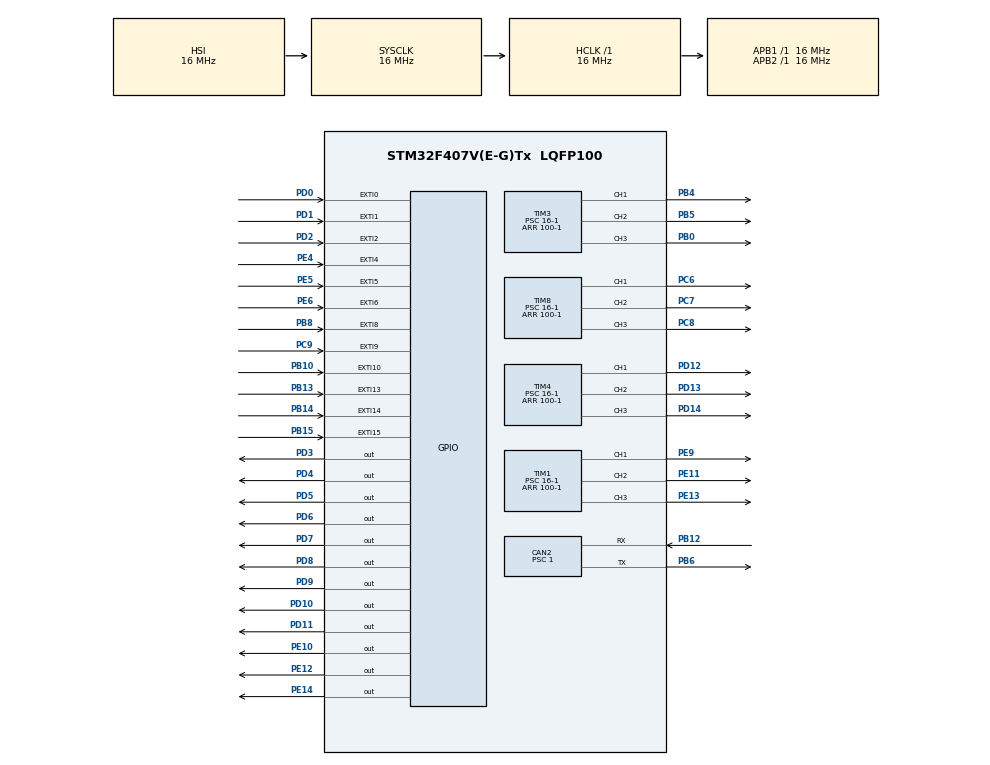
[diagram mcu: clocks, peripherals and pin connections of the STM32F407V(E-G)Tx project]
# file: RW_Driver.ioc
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CAN2.BS1=CAN_BS1_10TQ
CAN2.BS2=CAN_BS2_5TQ
CAN2.CalculateBaudRate=1000000
CAN2.CalculateTimeBit=1000.00
CAN2.CalculateTimeQuantum=62.5
CAN2.Prescaler=1
Mcu.Family=STM32F4
Mcu.Name=STM32F407V(E-G)Tx
Mcu.Package=LQFP100
NVIC.CAN2_RX0_IRQn=true\:0\:0\:false\:false\:true\:true\:true
NVIC.EXTI0_IRQn=true\:0\:0\:false\:false\:true\:true\:true
NVIC.EXTI15_10_IRQn=true\:0\:0\:false\:false\:true\:true\:true
NVIC.EXTI1_IRQn=true\:0\:0\:false\:false\:true\:true\:true
NVIC.EXTI2_IRQn=true\:0\:0\:false\:false\:true\:true\:true
NVIC.EXTI4_IRQn=true\:0\:0\:false\:false\:true\:true\:true
NVIC.EXTI9_5_IRQn=true\:0\:0\:false\:false\:true\:true\:true
NVIC.PriorityGroup=NVIC_PRIORITYGROUP_4
PB0.Signal=S_TIM3_CH3
PB10.GPIO_ModeDefaultEXTI=GPIO_MODE_IT_RISING_FALLING
PB10.GPIO_PuPd=GPIO_PULLDOWN
PB10.Signal=GPXTI10
PB12.Mode=CAN_Activate
PB12.Signal=CAN2_RX
PB13.GPIO_ModeDefaultEXTI=GPIO_MODE_IT_RISING_FALLING
PB13.GPIO_PuPd=GPIO_PULLDOWN
PB13.Signal=GPXTI13
PB14.GPIO_ModeDefaultEXTI=GPIO_MODE_IT_RISING_FALLING
PB14.GPIO_PuPd=GPIO_PULLDOWN
PB14.Signal=GPXTI14
PB15.GPIO_ModeDefaultEXTI=GPIO_MODE_IT_RISING_FALLING
PB15.GPIO_PuPd=GPIO_PULLDOWN
PB15.Signal=GPXTI15
PB4.Signal=S_TIM3_CH1
PB5.Signal=S_TIM3_CH2
PB6.Mode=CAN_Activate
PB6.Signal=CAN2_TX
PB8.GPIO_ModeDefaultEXTI=GPIO_MODE_IT_RISING_FALLING
PB8.GPIO_PuPd=GPIO_PULLDOWN
PB8.Signal=GPXTI8
PC6.Signal=S_TIM8_CH1
PC7.Signal=S_TIM8_CH2
PC8.Signal=S_TIM8_CH3
PC9.GPIO_ModeDefaultEXTI=GPIO_MODE_IT_RISING_FALLING
PC9.GPIO_PuPd=GPIO_PULLDOWN
PC9.Signal=GPXTI9
PD0.GPIO_ModeDefaultEXTI=GPIO_MODE_IT_RISING_FALLING
PD0.GPIO_PuPd=GPIO_PULLDOWN
PD0.Signal=GPXTI0
PD1.GPIO_ModeDefaultEXTI=GPIO_MODE_IT_RISING_FALLING
PD1.GPIO_PuPd=GPIO_PULLDOWN
PD1.Signal=GPXTI1
PD10.Signal=GPIO_Output
PD11.Signal=GPIO_Output
PD12.Signal=S_TIM4_CH1
PD13.Signal=S_TIM4_CH2
PD14.Signal=S_TIM4_CH3
PD2.GPIO_ModeDefaultEXTI=GPIO_MODE_IT_RISING_FALLING
PD2.GPIO_PuPd=GPIO_PULLDOWN
PD2.Signal=GPXTI2
PD3.Signal=GPIO_Output
PD4.Signal=GPIO_Output
PD5.Signal=GPIO_Output
PD6.Signal=GPIO_Output
PD7.Signal=GPIO_Output
PD8.Signal=GPIO_Output
PD9.Signal=GPIO_Output
PE10.Signal=GPIO_Output
PE11.Signal=S_TIM1_CH2
PE12.Signal=GPIO_Output
PE13.Signal=S_TIM1_CH3
PE14.Signal=GPIO_Output
PE4.GPIO_ModeDefaultEXTI=GPIO_MODE_IT_RISING_FALLING
PE4.GPIO_PuPd=GPIO_PULLDOWN
PE4.Signal=GPXTI4
PE5.GPIO_ModeDefaultEXTI=GPIO_MODE_IT_RISING_FALLING
PE5.GPIO_PuPd=GPIO_PULLDOWN
PE5.Signal=GPXTI5
PE6.GPIO_ModeDefaultEXTI=GPIO_MODE_IT_RISING_FALLING
PE6.GPIO_PuPd=GPIO_PULLDOWN
PE6.Signal=GPXTI6
PE9.Signal=S_TIM1_CH1
ProjectManager.HeapSize=0x200
ProjectManager.StackSize=0x400
ProjectManager.TargetToolchain=STM32CubeIDE
RCC.AHBFreq_Value=16000000
RCC.APB1Freq_Value=16000000
RCC.APB2Freq_Value=16000000
RCC.CortexFreq_Value=16000000
RCC.HSE_VALUE=25000000
RCC.HSI_VALUE=16000000
RCC.LSE_VALUE=32768
RCC.SYSCLKFreq_VALUE=16000000
RCC.VCOOutputFreq_Value=192000000
SH.S_TIM1_CH1.0=TIM1_CH1,PWM Generation1 CH1
SH.S_TIM1_CH2.0=TIM1_CH2,PWM Generation2 CH2
SH.S_TIM1_CH3.0=TIM1_CH3,PWM Generation3 CH3
SH.S_TIM3_CH1.0=TIM3_CH1,PWM Generation1 CH1
SH.S_TIM3_CH2.0=TIM3_CH2,PWM Generation2 CH2
SH.S_TIM3_CH3.0=TIM3_CH3,PWM Generation3 CH3
SH.S_TIM4_CH1.0=TIM4_CH1,PWM Generation1 CH1
SH.S_TIM4_CH2.0=TIM4_CH2,PWM Generation2 CH2
SH.S_TIM4_CH3.0=TIM4_CH3,PWM Generation3 CH3
SH.S_TIM8_CH1.0=TIM8_CH1,PWM Generation1 CH1
SH.S_TIM8_CH2.0=TIM8_CH2,PWM Generation2 CH2
SH.S_TIM8_CH3.0=TIM8_CH3,PWM Generation3 CH3
TIM1.Channel-PWM\ Generation1\ CH1=TIM_CHANNEL_1
TIM1.Channel-PWM\ Generation2\ CH2=TIM_CHANNEL_2
TIM1.Channel-PWM\ Generation3\ CH3=TIM_CHANNEL_3
TIM1.Period=100-1
TIM1.Prescaler=16-1
TIM3.Channel-PWM\ Generation1\ CH1=TIM_CHANNEL_1
TIM3.Channel-PWM\ Generation2\ CH2=TIM_CHANNEL_2
TIM3.Channel-PWM\ Generation3\ CH3=TIM_CHANNEL_3
TIM3.Period=100-1
TIM3.Prescaler=16-1
TIM4.Channel-PWM\ Generation1\ CH1=TIM_CHANNEL_1
TIM4.Channel-PWM\ Generation2\ CH2=TIM_CHANNEL_2
TIM4.Channel-PWM\ Generation3\ CH3=TIM_CHANNEL_3
TIM4.Period=100-1
TIM4.Prescaler=16-1
TIM8.Channel-PWM\ Generation1\ CH1=TIM_CHANNEL_1
TIM8.Channel-PWM\ Generation2\ CH2=TIM_CHANNEL_2
TIM8.Channel-PWM\ Generation3\ CH3=TIM_CHANNEL_3
TIM8.Period=100-1
TIM8.Prescaler=16-1
VP_TIM1_VS_ClockSourceINT.Mode=Internal
VP_TIM3_VS_ClockSourceINT.Mode=Internal
VP_TIM4_VS_ClockSourceINT.Mode=Internal
VP_TIM8_VS_ClockSourceINT.Mode=Internal
board=custom

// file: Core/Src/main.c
/* USER CODE BEGIN Header */
/**
  ******************************************************************************
  * @file           : main.c
  * @author			: Jesús Yamil Robles López
  * @author			: Guillermo Ocaña Anaya
  * @date			: 14/01/2022
  * @brief          : Main program body
  *
  ******************************************************************************
  * Motor 1
  * GPIO		- PD2 		- Hall Sensor C
  * GPIO		- PD1 		- Hall Sensor B
  * GPIO		- PD0 		- Hall Sensor A
  * GPIO		- PE10		- High Driver Output C
  * TIM1(CH1)	- PE9		- PWM Driver Output C
  * GPIO		- PE12		- High Driver Output B
  * TIM1(CH2)	- PE11		- PWM Driver Output B
  * GPIO		- PE14		- High Driver Output A
  * TIM1(CH3)	- PE13		- PWM Driver Output A
  ******************************************************************************
  * Motor 2
  * GPIO		- PE6 		- Hall Sensor C
  * GPIO		- PE5 		- Hall Sensor B
  * GPIO		- PE4 		- Hall Sensor A
  * GPIO		- PD9		- High Driver Output C
  * TIM4(CH1)	- PD12		- PWM Driver Output C
  * GPIO		- PD10		- High Driver Output B
  * TIM4(CH2)	- PD13		- PWM Driver Output B
  * GPIO		- PD11		- High Driver Output A
  * TIM4(CH3)	- PD14		- PWM Driver Output A
  ******************************************************************************
  * Motor 3
  * GPIO		- PB10 		- Hall Sensor C
  * GPIO		- PC9 		- Hall Sensor B
  * GPIO		- PB8 		- Hall Sensor A
  * GPIO		- PD3		- High Driver Output C
  * TIM8(CH1)	- PC6		- PWM Driver Output C
  * GPIO		- PD4		- High Driver Output B
  * TIM8(CH2)	- PC7		- PWM Driver Output B
  * GPIO		- PD5		- High Driver Output A
  * TIM8(CH3)	- PC8		- PWM Driver Output A
  ******************************************************************************
  * Motor 4
  * GPIO		- PB15 		- Hall Sensor C
  * GPIO		- PB14 		- Hall Sensor B
  * GPIO		- PB13 		- Hall Sensor A
  * GPIO		- PD6		- High Driver Output C
  * TIM3(CH1)	- PB4		- PWM Driver Output C
  * GPIO		- PD7		- High Driver Output B
  * TIM3(CH2)	- PB5		- PWM Driver Output B
  * GPIO		- PD8		- High Driver Output A
  * TIM3(CH3)	- PB0		- PWM Driver Output A
  ******************************************************************************
  * CAN
  * CAN2		- PB6		- CAN_TX
  * CAN2		- PB12		- CAN_RX
  ******************************************************************************
  * @attention
  *
  * <h2><center>&copy; Copyright (c) 2021 STMicroelectronics.
  * All rights reserved.</center></h2>
  *
  * This software component is licensed by ST under BSD 3-Clause license,
  * the "License"; You may not use this file except in compliance with the
  * License. You may obtain a copy of the License at:
  *                        opensource.org/licenses/BSD-3-Clause
  *
  ******************************************************************************
  */
/* USER CODE END Header */
#include "main.h"

CAN_HandleTypeDef hcan2;

TIM_HandleTypeDef htim1;
TIM_HandleTypeDef htim3;
TIM_HandleTypeDef htim4;
TIM_HandleTypeDef htim8;

/* USER CODE BEGIN PV */

int phase;

High_Output_Drive_Type Wheel1_HD;
High_Output_Drive_Type Wheel2_HD;
High_Output_Drive_Type Wheel3_HD;
High_Output_Drive_Type Wheel4_HD;

FlyWheel_Type FlyWheel_1;
FlyWheel_Type FlyWheel_2;
FlyWheel_Type FlyWheel_3;
FlyWheel_Type FlyWheel_4;

RW_Driver_Type RW_Driver_0;

static CAN_RxHeaderTypeDef RxHeader;
static CAN_TxHeaderTypeDef TxHeader;

uint8_t TxData[8];
uint8_t RxData[8];

uint32_t TxMailbox;

/* USER CODE END PV */

void SystemClock_Config(void);
static void MX_GPIO_Init(void);
static void MX_TIM1_Init(void);
static void MX_TIM4_Init(void);
static void MX_CAN2_Init(void);
static void MX_TIM8_Init(void);
static void MX_TIM3_Init(void);

int main(void)
{

  /* MCU Configuration--------------------------------------------------------*/

  /* Reset of all peripherals, Initializes the Flash interface and the Systick. */
  HAL_Init();

  /* Configure the system clock */
  SystemClock_Config();

  /* Initialize all configured peripherals */
  MX_GPIO_Init();
  MX_TIM1_Init();
  MX_TIM4_Init();
  MX_CAN2_Init();
  MX_TIM8_Init();
  MX_TIM3_Init();
  /* USER CODE BEGIN 2 */

  // High_Output_Drive_Type* Wheel_HD, GPIO_TypeDef* OutputA, uint16_t Pin_A, GPIO_TypeDef* OutputB, uint16_t Pin_B, GPIO_TypeDef* OutputC, uint16_t Pin_C
  Configure_High_Output(&Wheel1_HD, GPIOE, GPIO_PIN_14, GPIOE, GPIO_PIN_12, GPIOE, GPIO_PIN_10);
  Configure_High_Output(&Wheel2_HD, GPIOD, GPIO_PIN_11, GPIOD, GPIO_PIN_10, GPIOD, GPIO_PIN_9);
  Configure_High_Output(&Wheel3_HD, GPIOD, GPIO_PIN_5, GPIOD, GPIO_PIN_4, GPIOD, GPIO_PIN_3);
  Configure_High_Output(&Wheel4_HD, GPIOD, GPIO_PIN_8, GPIOD, GPIO_PIN_7, GPIOD, GPIO_PIN_6);

  //FlyWheel, High_Output_Drive_Type FlyWheel_HD, TIM_TypeDef FlyWheel_LD, uint16_t FlyWheel_DC, TIM_HandleTypeDef FlyWheel_PWM
  FlyWheel_Init(&FlyWheel_1, &Wheel1_HD, TIM1, 50, htim1, 0);
  FlyWheel_Init(&FlyWheel_2, &Wheel2_HD, TIM4, 50, htim4, 1);
  FlyWheel_Init(&FlyWheel_3, &Wheel3_HD, TIM8, 50, htim8, 2);
  FlyWheel_Init(&FlyWheel_4, &Wheel4_HD, TIM3, 50, htim3, 3);

  //FlyWheel_StartPWM(&FlyWheel_1);
  //FlyWheel_StartPWM(&FlyWheel_2);
  //FlyWheel_StartPWM(&FlyWheel_3);
  //FlyWheel_StartPWM(&FlyWheel_4);

  //RW_Driver_Type* RW_Driver, FlyWheel_Type* FlyWheel0, FlyWheel_Type* FlyWheel1, FlyWheel_Type* FlyWheel2, FlyWheel_Type * FlyWheel3);
  RW_Driver_Init(&RW_Driver_0, &FlyWheel_1, &FlyWheel_2, &FlyWheel_3, &FlyWheel_4);

  HAL_CAN_Start(&hcan2);
  HAL_CAN_ActivateNotification(&hcan2, CAN_IT_RX_FIFO0_MSG_PENDING);

  TxHeader.DLC = 2;
  TxHeader.IDE = CAN_ID_STD;
  TxHeader.RTR = CAN_RTR_DATA;
  TxHeader.StdId = 0x123;

  /* USER CODE END 2 */

  /* Infinite loop */
  while (1)
  {

  }
}

void SystemClock_Config(void)
{
  RCC_OscInitTypeDef RCC_OscInitStruct = {0};
  RCC_ClkInitTypeDef RCC_ClkInitStruct = {0};

  /** Configure the main internal regulator output voltage
  */
  __HAL_RCC_PWR_CLK_ENABLE();
  __HAL_PWR_VOLTAGESCALING_CONFIG(PWR_REGULATOR_VOLTAGE_SCALE1);
  /** Initializes the RCC Oscillators according to the specified parameters
  * in the RCC_OscInitTypeDef structure.
  */
  RCC_OscInitStruct.OscillatorType = RCC_OSCILLATORTYPE_HSI;
  RCC_OscInitStruct.HSIState = RCC_HSI_ON;
  RCC_OscInitStruct.HSICalibrationValue = RCC_HSICALIBRATION_DEFAULT;
  RCC_OscInitStruct.PLL.PLLState = RCC_PLL_NONE;
  if (HAL_RCC_OscConfig(&RCC_OscInitStruct) != HAL_OK)
  {
    Error_Handler();
  }
  /** Initializes the CPU, AHB and APB buses clocks
  */
  RCC_ClkInitStruct.ClockType = RCC_CLOCKTYPE_HCLK|RCC_CLOCKTYPE_SYSCLK
                              |RCC_CLOCKTYPE_PCLK1|RCC_CLOCKTYPE_PCLK2;
  RCC_ClkInitStruct.SYSCLKSource = RCC_SYSCLKSOURCE_HSI;
  RCC_ClkInitStruct.AHBCLKDivider = RCC_SYSCLK_DIV1;
  RCC_ClkInitStruct.APB1CLKDivider = RCC_HCLK_DIV1;
  RCC_ClkInitStruct.APB2CLKDivider = RCC_HCLK_DIV1;

  if (HAL_RCC_ClockConfig(&RCC_ClkInitStruct, FLASH_LATENCY_0) != HAL_OK)
  {
    Error_Handler();
  }
}

static void MX_CAN2_Init(void)
{

  hcan2.Instance = CAN2;
  hcan2.Init.Prescaler = 1;
  hcan2.Init.Mode = CAN_MODE_NORMAL;
  hcan2.Init.SyncJumpWidth = CAN_SJW_1TQ;
  hcan2.Init.TimeSeg1 = CAN_BS1_10TQ;
  hcan2.Init.TimeSeg2 = CAN_BS2_5TQ;
  hcan2.Init.TimeTriggeredMode = DISABLE;
  hcan2.Init.AutoBusOff = DISABLE;
  hcan2.Init.AutoWakeUp = DISABLE;
  hcan2.Init.AutoRetransmission = DISABLE;
  hcan2.Init.ReceiveFifoLocked = DISABLE;
  hcan2.Init.TransmitFifoPriority = DISABLE;
  if (HAL_CAN_Init(&hcan2) != HAL_OK)
  {
    Error_Handler();
  }
  /* USER CODE BEGIN CAN2_Init 2 */

  CAN_FilterTypeDef sFilterConfig;

  sFilterConfig.FilterActivation = CAN_FILTER_ENABLE;
  sFilterConfig.FilterBank = 14;
  sFilterConfig.FilterFIFOAssignment = CAN_FILTER_FIFO0;
  sFilterConfig.FilterIdHigh = 0x456 << 5;
  sFilterConfig.FilterIdLow = 0x0000;
  sFilterConfig.FilterMaskIdHigh = 0x456 << 5;
  sFilterConfig.FilterMaskIdLow = 0x0000;
  sFilterConfig.FilterMode = CAN_FILTERMODE_IDMASK;
  sFilterConfig.FilterScale = CAN_FILTERSCALE_32BIT;
  sFilterConfig.SlaveStartFilterBank= 0;

  HAL_CAN_ConfigFilter(&hcan2, &sFilterConfig);

  /* USER CODE END CAN2_Init 2 */

}

static void MX_TIM1_Init(void)
{

  TIM_ClockConfigTypeDef sClockSourceConfig = {0};
  TIM_MasterConfigTypeDef sMasterConfig = {0};
  TIM_OC_InitTypeDef sConfigOC = {0};
  TIM_BreakDeadTimeConfigTypeDef sBreakDeadTimeConfig = {0};

  htim1.Instance = TIM1;
  htim1.Init.Prescaler = 16-1;
  htim1.Init.CounterMode = TIM_COUNTERMODE_UP;
  htim1.Init.Period = 100-1;
  htim1.Init.ClockDivision = TIM_CLOCKDIVISION_DIV1;
  htim1.Init.RepetitionCounter = 0;
  htim1.Init.AutoReloadPreload = TIM_AUTORELOAD_PRELOAD_DISABLE;
  if (HAL_TIM_Base_Init(&htim1) != HAL_OK)
  {
    Error_Handler();
  }
  sClockSourceConfig.ClockSource = TIM_CLOCKSOURCE_INTERNAL;
  if (HAL_TIM_ConfigClockSource(&htim1, &sClockSourceConfig) != HAL_OK)
  {
    Error_Handler();
  }
  if (HAL_TIM_PWM_Init(&htim1) != HAL_OK)
  {
    Error_Handler();
  }
  sMasterConfig.MasterOutputTrigger = TIM_TRGO_RESET;
  sMasterConfig.MasterSlaveMode = TIM_MASTERSLAVEMODE_DISABLE;
  if (HAL_TIMEx_MasterConfigSynchronization(&htim1, &sMasterConfig) != HAL_OK)
  {
    Error_Handler();
  }
  sConfigOC.OCMode = TIM_OCMODE_PWM1;
  sConfigOC.Pulse = 0;
  sConfigOC.OCPolarity = TIM_OCPOLARITY_HIGH;
  sConfigOC.OCNPolarity = TIM_OCNPOLARITY_HIGH;
  sConfigOC.OCFastMode = TIM_OCFAST_DISABLE;
  sConfigOC.OCIdleState = TIM_OCIDLESTATE_RESET;
  sConfigOC.OCNIdleState = TIM_OCNIDLESTATE_RESET;
  if (HAL_TIM_PWM_ConfigChannel(&htim1, &sConfigOC, TIM_CHANNEL_1) != HAL_OK)
  {
    Error_Handler();
  }
  if (HAL_TIM_PWM_ConfigChannel(&htim1, &sConfigOC, TIM_CHANNEL_2) != HAL_OK)
  {
    Error_Handler();
  }
  if (HAL_TIM_PWM_ConfigChannel(&htim1, &sConfigOC, TIM_CHANNEL_3) != HAL_OK)
  {
    Error_Handler();
  }
  sBreakDeadTimeConfig.OffStateRunMode = TIM_OSSR_DISABLE;
  sBreakDeadTimeConfig.OffStateIDLEMode = TIM_OSSI_DISABLE;
  sBreakDeadTimeConfig.LockLevel = TIM_LOCKLEVEL_OFF;
  sBreakDeadTimeConfig.DeadTime = 0;
  sBreakDeadTimeConfig.BreakState = TIM_BREAK_DISABLE;
  sBreakDeadTimeConfig.BreakPolarity = TIM_BREAKPOLARITY_HIGH;
  sBreakDeadTimeConfig.AutomaticOutput = TIM_AUTOMATICOUTPUT_DISABLE;
  if (HAL_TIMEx_ConfigBreakDeadTime(&htim1, &sBreakDeadTimeConfig) != HAL_OK)
  {
    Error_Handler();
  }
  HAL_TIM_MspPostInit(&htim1);

}

static void MX_TIM3_Init(void)
{

  TIM_ClockConfigTypeDef sClockSourceConfig = {0};
  TIM_MasterConfigTypeDef sMasterConfig = {0};
  TIM_OC_InitTypeDef sConfigOC = {0};

  htim3.Instance = TIM3;
  htim3.Init.Prescaler = 16-1;
  htim3.Init.CounterMode = TIM_COUNTERMODE_UP;
  htim3.Init.Period = 100-1;
  htim3.Init.ClockDivision = TIM_CLOCKDIVISION_DIV1;
  htim3.Init.AutoReloadPreload = TIM_AUTORELOAD_PRELOAD_DISABLE;
  if (HAL_TIM_Base_Init(&htim3) != HAL_OK)
  {
    Error_Handler();
  }
  sClockSourceConfig.ClockSource = TIM_CLOCKSOURCE_INTERNAL;
  if (HAL_TIM_ConfigClockSource(&htim3, &sClockSourceConfig) != HAL_OK)
  {
    Error_Handler();
  }
  if (HAL_TIM_PWM_Init(&htim3) != HAL_OK)
  {
    Error_Handler();
  }
  sMasterConfig.MasterOutputTrigger = TIM_TRGO_RESET;
  sMasterConfig.MasterSlaveMode = TIM_MASTERSLAVEMODE_DISABLE;
  if (HAL_TIMEx_MasterConfigSynchronization(&htim3, &sMasterConfig) != HAL_OK)
  {
    Error_Handler();
  }
  sConfigOC.OCMode = TIM_OCMODE_PWM1;
  sConfigOC.Pulse = 0;
  sConfigOC.OCPolarity = TIM_OCPOLARITY_HIGH;
  sConfigOC.OCFastMode = TIM_OCFAST_DISABLE;
  if (HAL_TIM_PWM_ConfigChannel(&htim3, &sConfigOC, TIM_CHANNEL_1) != HAL_OK)
  {
    Error_Handler();
  }
  if (HAL_TIM_PWM_ConfigChannel(&htim3, &sConfigOC, TIM_CHANNEL_2) != HAL_OK)
  {
    Error_Handler();
  }
  if (HAL_TIM_PWM_ConfigChannel(&htim3, &sConfigOC, TIM_CHANNEL_3) != HAL_OK)
  {
    Error_Handler();
  }
  HAL_TIM_MspPostInit(&htim3);

}

static void MX_TIM4_Init(void)
{

  TIM_ClockConfigTypeDef sClockSourceConfig = {0};
  TIM_MasterConfigTypeDef sMasterConfig = {0};
  TIM_OC_InitTypeDef sConfigOC = {0};

  htim4.Instance = TIM4;
  htim4.Init.Prescaler = 16-1;
  htim4.Init.CounterMode = TIM_COUNTERMODE_UP;
  htim4.Init.Period = 100-1;
  htim4.Init.ClockDivision = TIM_CLOCKDIVISION_DIV1;
  htim4.Init.AutoReloadPreload = TIM_AUTORELOAD_PRELOAD_DISABLE;
  if (HAL_TIM_Base_Init(&htim4) != HAL_OK)
  {
    Error_Handler();
  }
  sClockSourceConfig.ClockSource = TIM_CLOCKSOURCE_INTERNAL;
  if (HAL_TIM_ConfigClockSource(&htim4, &sClockSourceConfig) != HAL_OK)
  {
    Error_Handler();
  }
  if (HAL_TIM_PWM_Init(&htim4) != HAL_OK)
  {
    Error_Handler();
  }
  sMasterConfig.MasterOutputTrigger = TIM_TRGO_RESET;
  sMasterConfig.MasterSlaveMode = TIM_MASTERSLAVEMODE_DISABLE;
  if (HAL_TIMEx_MasterConfigSynchronization(&htim4, &sMasterConfig) != HAL_OK)
  {
    Error_Handler();
  }
  sConfigOC.OCMode = TIM_OCMODE_PWM1;
  sConfigOC.Pulse = 0;
  sConfigOC.OCPolarity = TIM_OCPOLARITY_HIGH;
  sConfigOC.OCFastMode = TIM_OCFAST_DISABLE;
  if (HAL_TIM_PWM_ConfigChannel(&htim4, &sConfigOC, TIM_CHANNEL_1) != HAL_OK)
  {
    Error_Handler();
  }
  if (HAL_TIM_PWM_ConfigChannel(&htim4, &sConfigOC, TIM_CHANNEL_2) != HAL_OK)
  {
    Error_Handler();
  }
  if (HAL_TIM_PWM_ConfigChannel(&htim4, &sConfigOC, TIM_CHANNEL_3) != HAL_OK)
  {
    Error_Handler();
  }
  HAL_TIM_MspPostInit(&htim4);

}

static void MX_TIM8_Init(void)
{

  TIM_ClockConfigTypeDef sClockSourceConfig = {0};
  TIM_MasterConfigTypeDef sMasterConfig = {0};
  TIM_OC_InitTypeDef sConfigOC = {0};
  TIM_BreakDeadTimeConfigTypeDef sBreakDeadTimeConfig = {0};

  htim8.Instance = TIM8;
  htim8.Init.Prescaler = 16-1;
  htim8.Init.CounterMode = TIM_COUNTERMODE_UP;
  htim8.Init.Period = 100-1;
  htim8.Init.ClockDivision = TIM_CLOCKDIVISION_DIV1;
  htim8.Init.RepetitionCounter = 0;
  htim8.Init.AutoReloadPreload = TIM_AUTORELOAD_PRELOAD_DISABLE;
  if (HAL_TIM_Base_Init(&htim8) != HAL_OK)
  {
    Error_Handler();
  }
  sClockSourceConfig.ClockSource = TIM_CLOCKSOURCE_INTERNAL;
  if (HAL_TIM_ConfigClockSource(&htim8, &sClockSourceConfig) != HAL_OK)
  {
    Error_Handler();
  }
  if (HAL_TIM_PWM_Init(&htim8) != HAL_OK)
  {
    Error_Handler();
  }
  sMasterConfig.MasterOutputTrigger = TIM_TRGO_RESET;
  sMasterConfig.MasterSlaveMode = TIM_MASTERSLAVEMODE_DISABLE;
  if (HAL_TIMEx_MasterConfigSynchronization(&htim8, &sMasterConfig) != HAL_OK)
  {
    Error_Handler();
  }
  sConfigOC.OCMode = TIM_OCMODE_PWM1;
  sConfigOC.Pulse = 0;
  sConfigOC.OCPolarity = TIM_OCPOLARITY_HIGH;
  sConfigOC.OCNPolarity = TIM_OCNPOLARITY_HIGH;
  sConfigOC.OCFastMode = TIM_OCFAST_DISABLE;
  sConfigOC.OCIdleState = TIM_OCIDLESTATE_RESET;
  sConfigOC.OCNIdleState = TIM_OCNIDLESTATE_RESET;
  if (HAL_TIM_PWM_ConfigChannel(&htim8, &sConfigOC, TIM_CHANNEL_1) != HAL_OK)
  {
    Error_Handler();
  }
  if (HAL_TIM_PWM_ConfigChannel(&htim8, &sConfigOC, TIM_CHANNEL_2) != HAL_OK)
  {
    Error_Handler();
  }
  if (HAL_TIM_PWM_ConfigChannel(&htim8, &sConfigOC, TIM_CHANNEL_3) != HAL_OK)
  {
    Error_Handler();
  }
  sBreakDeadTimeConfig.OffStateRunMode = TIM_OSSR_DISABLE;
  sBreakDeadTimeConfig.OffStateIDLEMode = TIM_OSSI_DISABLE;
  sBreakDeadTimeConfig.LockLevel = TIM_LOCKLEVEL_OFF;
  sBreakDeadTimeConfig.DeadTime = 0;
  sBreakDeadTimeConfig.BreakState = TIM_BREAK_DISABLE;
  sBreakDeadTimeConfig.BreakPolarity = TIM_BREAKPOLARITY_HIGH;
  sBreakDeadTimeConfig.AutomaticOutput = TIM_AUTOMATICOUTPUT_DISABLE;
  if (HAL_TIMEx_ConfigBreakDeadTime(&htim8, &sBreakDeadTimeConfig) != HAL_OK)
  {
    Error_Handler();
  }
  HAL_TIM_MspPostInit(&htim8);

}

static void MX_GPIO_Init(void)
{
  GPIO_InitTypeDef GPIO_InitStruct = {0};

  /* GPIO Ports Clock Enable */
  __HAL_RCC_GPIOE_CLK_ENABLE();
  __HAL_RCC_GPIOB_CLK_ENABLE();
  __HAL_RCC_GPIOD_CLK_ENABLE();
  __HAL_RCC_GPIOC_CLK_ENABLE();

  /*Configure GPIO pin Output Level */
  HAL_GPIO_WritePin(GPIOE, GPIO_PIN_10|GPIO_PIN_12|GPIO_PIN_14, GPIO_PIN_RESET);

  /*Configure GPIO pin Output Level */
  HAL_GPIO_WritePin(GPIOD, GPIO_PIN_8|GPIO_PIN_9|GPIO_PIN_10|GPIO_PIN_11
                          |GPIO_PIN_3|GPIO_PIN_4|GPIO_PIN_5|GPIO_PIN_6
                          |GPIO_PIN_7, GPIO_PIN_RESET);

  /*Configure GPIO pins : PE4 PE5 PE6 */
  GPIO_InitStruct.Pin = GPIO_PIN_4|GPIO_PIN_5|GPIO_PIN_6;
  GPIO_InitStruct.Mode = GPIO_MODE_IT_RISING_FALLING;
  GPIO_InitStruct.Pull = GPIO_PULLDOWN;
  HAL_GPIO_Init(GPIOE, &GPIO_InitStruct);

  /*Configure GPIO pins : PE10 PE12 PE14 */
  GPIO_InitStruct.Pin = GPIO_PIN_10|GPIO_PIN_12|GPIO_PIN_14;
  GPIO_InitStruct.Mode = GPIO_MODE_OUTPUT_PP;
  GPIO_InitStruct.Pull = GPIO_NOPULL;
  GPIO_InitStruct.Speed = GPIO_SPEED_FREQ_LOW;
  HAL_GPIO_Init(GPIOE, &GPIO_InitStruct);

  /*Configure GPIO pins : PB10 PB13 PB14 PB15
                           PB8 */
  GPIO_InitStruct.Pin = GPIO_PIN_10|GPIO_PIN_13|GPIO_PIN_14|GPIO_PIN_15
                          |GPIO_PIN_8;
  GPIO_InitStruct.Mode = GPIO_MODE_IT_RISING_FALLING;
  GPIO_InitStruct.Pull = GPIO_PULLDOWN;
  HAL_GPIO_Init(GPIOB, &GPIO_InitStruct);

  /*Configure GPIO pins : PD8 PD9 PD10 PD11
                           PD3 PD4 PD5 PD6
                           PD7 */
  GPIO_InitStruct.Pin = GPIO_PIN_8|GPIO_PIN_9|GPIO_PIN_10|GPIO_PIN_11
                          |GPIO_PIN_3|GPIO_PIN_4|GPIO_PIN_5|GPIO_PIN_6
                          |GPIO_PIN_7;
  GPIO_InitStruct.Mode = GPIO_MODE_OUTPUT_PP;
  GPIO_InitStruct.Pull = GPIO_NOPULL;
  GPIO_InitStruct.Speed = GPIO_SPEED_FREQ_LOW;
  HAL_GPIO_Init(GPIOD, &GPIO_InitStruct);

  /*Configure GPIO pin : PC9 */
  GPIO_InitStruct.Pin = GPIO_PIN_9;
  GPIO_InitStruct.Mode = GPIO_MODE_IT_RISING_FALLING;
  GPIO_InitStruct.Pull = GPIO_PULLDOWN;
  HAL_GPIO_Init(GPIOC, &GPIO_InitStruct);

  /*Configure GPIO pins : PD0 PD1 PD2 */
  GPIO_InitStruct.Pin = GPIO_PIN_0|GPIO_PIN_1|GPIO_PIN_2;
  GPIO_InitStruct.Mode = GPIO_MODE_IT_RISING_FALLING;
  GPIO_InitStruct.Pull = GPIO_PULLDOWN;
  HAL_GPIO_Init(GPIOD, &GPIO_InitStruct);

  /* EXTI interrupt init*/
  HAL_NVIC_SetPriority(EXTI0_IRQn, 0, 0);
  HAL_NVIC_EnableIRQ(EXTI0_IRQn);

  HAL_NVIC_SetPriority(EXTI1_IRQn, 0, 0);
  HAL_NVIC_EnableIRQ(EXTI1_IRQn);

  HAL_NVIC_SetPriority(EXTI2_IRQn, 0, 0);
  HAL_NVIC_EnableIRQ(EXTI2_IRQn);

  HAL_NVIC_SetPriority(EXTI4_IRQn, 0, 0);
  HAL_NVIC_EnableIRQ(EXTI4_IRQn);

  HAL_NVIC_SetPriority(EXTI9_5_IRQn, 0, 0);
  HAL_NVIC_EnableIRQ(EXTI9_5_IRQn);

  HAL_NVIC_SetPriority(EXTI15_10_IRQn, 0, 0);
  HAL_NVIC_EnableIRQ(EXTI15_10_IRQn);

}

/* USER CODE BEGIN 4 */
/**
 * @brief Interrupt generated by the GPIO
 * @param GPIO_Pin Pin that calls the interrupt
 * @retval None
 */
void HAL_GPIO_EXTI_Callback(uint16_t GPIO_Pin)
{
  if(GPIO_Pin==GPIO_PIN_0 || GPIO_Pin==GPIO_PIN_1 || GPIO_Pin==GPIO_PIN_2){
	  phase= (GPIOD->IDR) & 0x7;
	  FlyWheel_MoveMotor(&FlyWheel_1, phase);
	 // move_motor1(phase);
  }
  else if (GPIO_Pin==GPIO_PIN_4 || GPIO_Pin==GPIO_PIN_5 || GPIO_Pin==GPIO_PIN_6){
	  phase= ((GPIOE->IDR) & 0x70)>>4;
	  FlyWheel_MoveMotor(&FlyWheel_2, phase);
	 // move_motor2(phase);
  }
  else if (GPIO_Pin==GPIO_PIN_8 || GPIO_Pin==GPIO_PIN_9 || GPIO_Pin==GPIO_PIN_10){
	  phase= (((GPIOB->IDR) & 0x500)|((GPIOC->IDR) & 0x200))>>8;
	  FlyWheel_MoveMotor(&FlyWheel_3, phase);
	//  move_motor3(phase);
  }
  else if (GPIO_Pin==GPIO_PIN_13 || GPIO_Pin==GPIO_PIN_14 || GPIO_Pin==GPIO_PIN_15){
	  phase= ((GPIOB->IDR) & 0xE000)>>13;;
	  FlyWheel_MoveMotor(&FlyWheel_4, phase);
	 // move_motor4(phase);
  }
}

/**
 * @brief Interrupt generated by CAN_RX
 * @param hcan CAN Port that calls the interrupt
 * @retval None
 */
void HAL_CAN_RxFifo0MsgPendingCallback(CAN_HandleTypeDef *hcan)
{
	int R_W;
	HAL_CAN_GetRxMessage(hcan, CAN_RX_FIFO0, &RxHeader, RxData);

	R_W=(RxData[0]) & 0x1;
	if (R_W){
		// Obtener Trama de CAN según lo que se vaya a enviar
		TxData[0]= RxData[0];
		TxData[1]= RW_Driver_ReadSolicitude(&RW_Driver_0, RxData);
		HAL_CAN_AddTxMessage(&hcan2, &TxHeader, TxData, &TxMailbox);
	}
	else{
		RW_Driver_WriteSolicitude(&RW_Driver_0, RxData);
	}

}
/* USER CODE END 4 */

void Error_Handler(void)
{
  __disable_irq();
  while (1)
  {
  }
}

/************************ (C) COPYRIGHT STMicroelectronics *****END OF FILE****/
